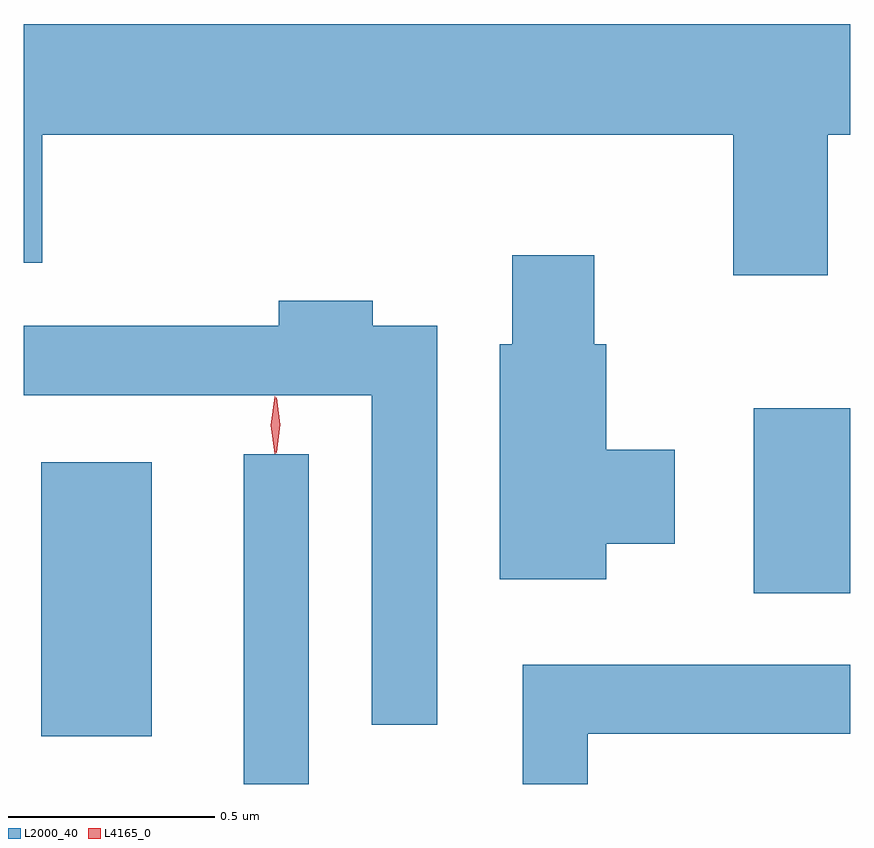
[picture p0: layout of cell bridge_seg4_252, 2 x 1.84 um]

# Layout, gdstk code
import gdstk
lib = gdstk.Library(unit=1e-6, precision=1e-09)
def R(c, l, rs):  # rectangles x0, y0, x1, y1
    for r in rs: c.add(gdstk.rectangle(r[:2], r[2:], *l))
def P(c, l, *ps):  # polygons
    for p in ps: c.add(gdstk.Polygon(p, *l))
L2000_40 = (2000, 40)
L4165_0 = (4165, 0)

bridge_seg4_252 = lib.new_cell('bridge_seg4_252')
R(bridge_seg4_252, L2000_40, [(623.496,1328.685,623.654,1329.483), (623.006,1328.801,623.274,1329.464), (624.731,1329.146,624.964,1329.594)])
P(bridge_seg4_252, L2000_40, [(622.964,1329.946),(623.009,1329.946),(623.009,1330.256),(624.681,1330.256),(624.681,1329.916),(624.909,1329.916),(624.909,1330.256),(624.964,1330.256),(624.964,1330.524),(622.964,1330.524)],
  [(624.374,1329.266),(624.539,1329.266),(624.539,1329.494),(624.374,1329.494),(624.374,1329.749),(624.344,1329.749),(624.344,1329.964),(624.146,1329.964),(624.146,1329.749),(624.116,1329.749),(624.116,1329.181),(624.374,1329.181)],
  [(623.964,1329.794),(623.809,1329.794),(623.809,1329.854),(623.581,1329.854),(623.581,1329.794),(622.964,1329.794),(622.964,1329.626),(623.806,1329.626),(623.806,1328.828),(623.964,1328.828)],
  [(624.329,1328.806),(624.964,1328.806),(624.964,1328.974),(624.171,1328.974),(624.171,1328.685),(624.329,1328.685)])
P(bridge_seg4_252, L4165_0, [(623.572,1329.484),(623.572,1329.484),(623.562,1329.553),(623.572,1329.622),(623.572,1329.623),(623.573,1329.622),(623.582,1329.553),(623.573,1329.484)],
  [(623.575,1329.487),(623.575,1329.487),(623.566,1329.554),(623.575,1329.62),(623.576,1329.62),(623.576,1329.62),(623.585,1329.554),(623.576,1329.487)])

lib.write_gds('bridge_seg4_252.gds')
